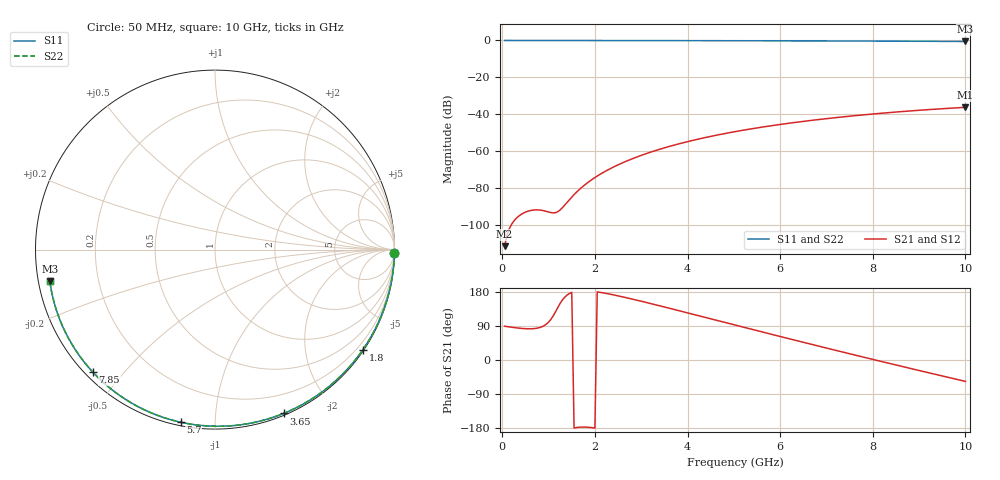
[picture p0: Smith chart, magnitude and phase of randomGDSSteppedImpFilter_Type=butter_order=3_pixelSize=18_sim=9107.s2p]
! freq	dB(S11)	phase(S11)	dB(S12)	phase(S12)
!  dB(S21)	phase(S21)	dB(S22)	phase(S22)
!S-par simulation data
#  GHz  S  DB  R 50
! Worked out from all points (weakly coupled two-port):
!   200 points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, 50 MHz to 10 GHz, reference 50 ohm
!   highest |S21| = -36.22 dB at 10 GHz (marker M1); lowest = -111.4 dB at 50 MHz (marker M2)
!   lowest |S11| = -0.6 dB at 10 GHz (marker M3), VSWR 30.81, Z = 1.64 - j4.76 ohm
!   |S11| at or under -10 dB: nowhere
!   |S22| runs from -0.6 to 0.0 dB; largest |S21 - S12| = 0
!   S11 on the Smith chart (normalised r, x): 50 MHz: open; 1.8 GHz: 0.03, -3.26; 3.65 GHz: 0.02, -1.50; 5.7 GHz: 0.02, -0.82; 7.85 GHz: 0.02, -0.42; 10 GHz: 0.03, -0.10
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0.05  -0.00 -1.0  -111.40 89.1  -111.40 89.1  -0.00 -1.0
0.45  -0.01 -8.7  -93.56 83.0  -93.56 83.0  -0.01 -8.7
0.85  -0.02 -16.3  -91.97 87.4  -91.97 87.4  -0.02 -16.3
1.65  -0.04 -31.3  -81.02 -177.5  -81.02 -177.5  -0.04 -31.4
1.7  -0.04 -32.3  -79.90 -177.1  -79.90 -177.1  -0.04 -32.3
1.75  -0.04 -33.2  -78.84 -177.0  -78.84 -177.0  -0.04 -33.2
1.8  -0.04 -34.1  -77.83 -177.1  -77.83 -177.1  -0.04 -34.2
2.1  -0.05 -39.7  -72.66 178.8  -72.66 178.8  -0.05 -39.7
2.3  -0.05 -43.3  -69.83 174.4  -69.83 174.4  -0.06 -43.3
2.5  -0.06 -46.9  -67.35 169.3  -67.35 169.3  -0.06 -47.0
2.9  -0.07 -54.1  -63.15 158.0  -63.15 158.0  -0.07 -54.2
3.4  -0.08 -62.9  -58.90 143.0  -58.90 143.0  -0.08 -63.0
3.65  -0.09 -67.3  -57.08 135.3  -57.08 135.3  -0.09 -67.3
4.3  -0.11 -78.4  -53.03 115.0  -53.03 115.0  -0.11 -78.4
5.05  -0.14 -90.8  -49.27 91.5  -49.27 91.5  -0.14 -90.9
5.7  -0.17 -101.3  -46.58 71.3  -46.58 71.3  -0.17 -101.4
6.7  -0.23 -117.0  -43.21 40.6  -43.21 40.6  -0.23 -117.1
7.25  -0.27 -125.6  -41.66 23.9  -41.66 23.9  -0.27 -125.7
7.85  -0.32 -134.9  -40.17 6.0  -40.17 6.0  -0.32 -135.0
8.35  -0.37 -142.6  -39.07 -8.7  -39.07 -8.7  -0.37 -142.7
9.2  -0.46 -156.0  -37.46 -33.5  -37.46 -33.5  -0.46 -156.2
10  -0.56 -169.1  -36.22 -56.4  -36.22 -56.4  -0.56 -169.3
